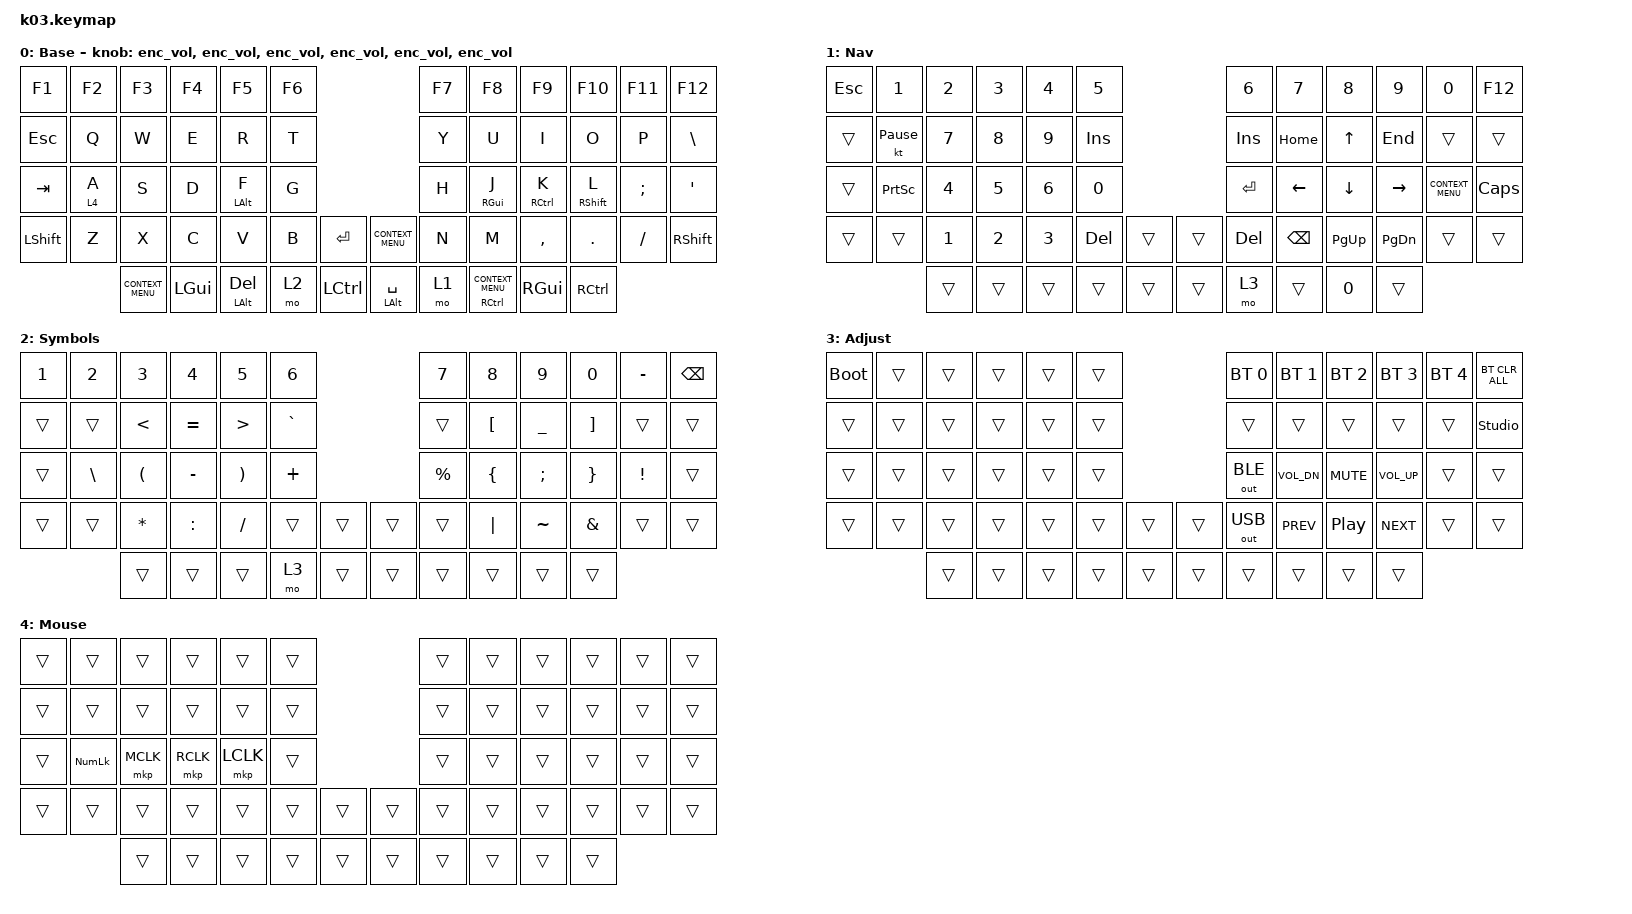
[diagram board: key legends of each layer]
#include "keys_ru.h"
#include <behaviors.dtsi>
#include <dt-bindings/zmk/bt.h>
#include <dt-bindings/zmk/keys.h>
#include <dt-bindings/zmk/outputs.h>
#include <dt-bindings/zmk/pointing.h>

&mt { flavor = "hold-preferred"; };

/ {
    behaviors {
        enc_vol: enc_vol {
            compatible = "zmk,behavior-sensor-rotate";
            label = "ENC_VOL";
            #sensor-binding-cells = <0>;
            bindings = <&kp C_VOL_UP>, <&kp C_VOL_DN>;
        };

        hmr: hmr {
            compatible = "zmk,behavior-hold-tap";
            label = "HMR";
            bindings = <&kp>, <&kp>;

            #binding-cells = <2>;
            tapping-term-ms = <280>;
            quick-tap-ms = <175>;
            require-prior-idle-ms = <150>;
            flavor = "balanced";
            hold-trigger-on-release;
            hold-trigger-key-positions = <17 29 41 40 39 38 37 25 26 27 28 16 15 14 13>;
        };

        td_alt: td_alt {
            compatible = "zmk,behavior-tap-dance";
            label = "TD_ALT";
            #binding-cells = <0>;
            bindings = <&kp LEFT_ALT>, <&kp LEFT_GUI>;

            tapping-term-ms = <300>;
        };

        hml: hml {
            compatible = "zmk,behavior-hold-tap";
            label = "HML";
            bindings = <&kp>, <&kp>;

            #binding-cells = <2>;
            tapping-term-ms = <280>;
            quick-tap-ms = <175>;
            require-prior-idle-ms = <150>;
            flavor = "balanced";
            hold-trigger-on-release;
            hold-trigger-key-positions = <44 30 18 19 31 45 46 32 20 21 33 47 22 48 34>;
        };
    };

    keymap {
        compatible = "zmk,keymap";

        base {
            bindings = <
&kp F1     &kp F2   &kp F3              &kp F4        &kp F5               &kp F6                                           &kp F7  &kp F8                     &kp F9         &kp F10             &kp F11   &kp F12
&kp ESC    &kp Q    &kp W               &kp E         &kp R                &kp T                                            &kp Y   &kp U                      &kp I          &kp O               &kp P     &kp BSLH
&kp TAB    &lt 4 A  &kp S               &kp D         &hml LEFT_ALT F      &kp G                                            &kp H   &hmr RIGHT_GUI J           &hmr RCTRL K   &hmr RIGHT_SHIFT L  &kp SEMI  &kp SQT
&kp LSHFT  &kp Z    &kp X               &kp C         &kp V                &kp B   &kp ENTER           &kp K_CONTEXT_MENU   &kp N   &kp M                      &kp COMMA      &kp DOT             &kp FSLH  &kp RSHFT
                    &kp K_CONTEXT_MENU  &kp LEFT_GUI  &mt LEFT_ALT DELETE  &mo 2   &kp LEFT_CONTROL    &hmr LEFT_ALT SPACE  &mo 1   &hmr RCTRL K_CONTEXT_MENU  &kp RIGHT_GUI  &kp RCTRL
            >;

            display-name = "Base";
            sensor-bindings =
                <&enc_vol>,
                <&enc_vol>,
                <&enc_vol>,
                <&enc_vol>,
                <&enc_vol>,
                <&enc_vol>;
        };

        nav {
            bindings = <
&kp ESC  &kp N1           &kp N2        &kp N3        &kp N4        &kp N5                          &kp N6      &kp N7          &kp N8          &kp N9         &kp N0              &kp F12
&trans   &kt PAUSE_BREAK  &kp N7        &kp N8        &kp N9        &kp INS                         &kp INSERT  &kp HOME        &kp UP          &kp END        &trans              &trans
&trans   &kp PRINTSCREEN  &kp NUMBER_4  &kp NUMBER_5  &kp N6        &kp NUMBER_0                    &kp ENTER   &kp LEFT_ARROW  &kp DOWN_ARROW  &kp RIGHT      &kp K_CONTEXT_MENU  &kp CAPS
&trans   &trans           &kp N1        &kp NUMBER_2  &kp NUMBER_3  &kp DEL       &trans    &trans  &kp DELETE  &kp BACKSPACE   &kp PAGE_UP     &kp PAGE_DOWN  &trans              &trans
                          &trans        &trans        &trans        &trans        &trans    &trans  &mo 3       &trans          &kp N0          &trans
            >;

            display-name = "Nav";
        };

        sym {
            bindings = <
&kp N1  &kp N2    &kp N3    &kp N4     &kp N5    &kp N6                       &kp N7     &kp N8    &kp N9     &kp N0    &kp MINUS  &kp BSPC
&trans  &trans    &kp LT    &kp EQUAL  &kp GT    &kp GRAVE                    &trans     &kp LBKT  &kp UNDER  &kp RBKT  &trans     &trans
&trans  &kp BSLH  &kp LPAR  &kp MINUS  &kp RPAR  &kp PLUS                     &kp PRCNT  &kp LBRC  &kp SEMI   &kp RBRC  &kp EXCL   &trans
&trans  &trans    &kp STAR  &kp COLON  &kp FSLH  &trans     &trans    &trans  &trans     &kp PIPE  &kp TILDE  &kp AMPS  &trans     &trans
                  &trans    &trans     &trans    &mo 3      &trans    &trans  &trans     &trans    &trans     &trans
            >;

            display-name = "Symbols";
        };

        adj {
            bindings = <
&bootloader  &trans  &trans  &trans  &trans  &trans                    &bt BT_SEL 0  &bt BT_SEL 1  &bt BT_SEL 2      &bt BT_SEL 3  &bt BT_SEL 4  &bt BT_CLR_ALL
&trans       &trans  &trans  &trans  &trans  &trans                    &trans        &trans        &trans            &trans        &trans        &studio_unlock
&trans       &trans  &trans  &trans  &trans  &trans                    &out OUT_BLE  &kp C_VOL_DN  &kp C_MUTE        &kp C_VOL_UP  &trans        &trans
&trans       &trans  &trans  &trans  &trans  &trans  &trans    &trans  &out OUT_USB  &kp C_PREV    &kp C_PLAY_PAUSE  &kp C_NEXT    &trans        &trans
                     &trans  &trans  &trans  &trans  &trans    &trans  &trans        &trans        &trans            &trans
            >;

            display-name = "Adjust";
        };

        Mouse {
            bindings = <
&trans  &trans       &trans     &trans     &trans     &trans                    &trans  &trans  &trans  &trans  &trans  &trans
&trans  &trans       &trans     &trans     &trans     &trans                    &trans  &trans  &trans  &trans  &trans  &trans
&trans  &kp KP_NLCK  &mkp MCLK  &mkp RCLK  &mkp LCLK  &trans                    &trans  &trans  &trans  &trans  &trans  &trans
&trans  &trans       &trans     &trans     &trans     &trans  &trans    &trans  &trans  &trans  &trans  &trans  &trans  &trans
                     &trans     &trans     &trans     &trans  &trans    &trans  &trans  &trans  &trans  &trans
            >;
        };
    };
};
